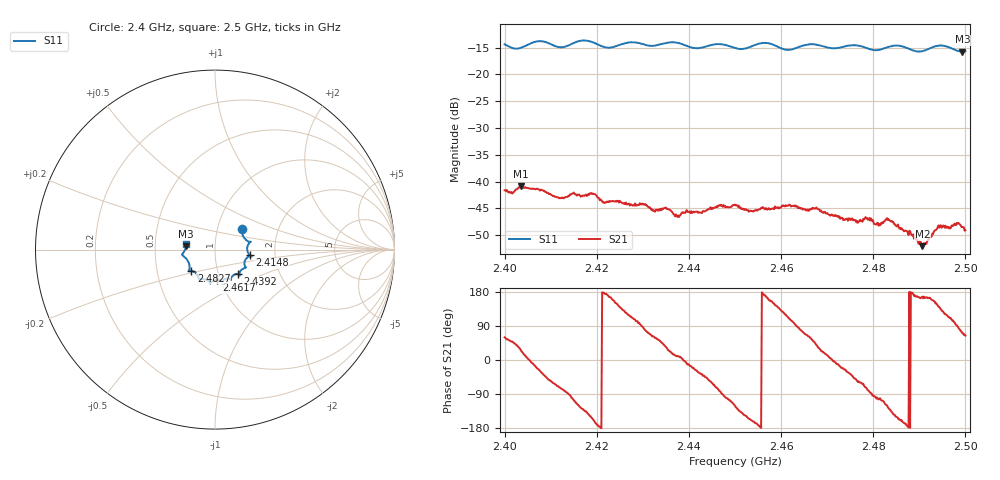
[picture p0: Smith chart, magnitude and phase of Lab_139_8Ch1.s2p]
# Hz S RI R 50
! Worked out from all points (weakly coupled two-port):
!   601 points, 2.4 GHz to 2.5 GHz, reference 50 ohm
!   highest |S21| = -40.87 dB at 2.4035 GHz (marker M1); lowest = -52.1 dB at 2.4907 GHz (marker M2)
!   lowest |S11| = -15.8 dB at 2.4993 GHz (marker M3), VSWR 1.39, Z = 36 + j1.4 ohm
!   |S11| at or under -10 dB: start of sweep to end of sweep
!   S12 and S22 are empty: the file has one direction only
!   S11 on the Smith chart (normalised r, x): 2.4 GHz: 1.31, +0.32; 2.4148 GHz: 1.47, -0.10; 2.4392 GHz: 1.24, -0.35; 2.4617 GHz: 0.96, -0.33; 2.4827 GHz: 0.75, -0.18; 2.5 GHz: 0.72, +0.05
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2.4e9  0.1513 0.1161  0.00418 0.00716  0 0  0 0
2.4035e9  0.166 0.0613  0.00812 0.00398  0 0  0 0
2.4075e9  0.1997 0.0435  0.0075 -0.0038  0 0  0 0
2.411833e9  0.1791 0.01  0.00217 -0.00662  0 0  0 0
2.414833e9  0.1924 -0.0313  -0.0018 -0.00751  0 0  0 0
2.416667e9  0.203 -0.0395  -0.00448 -0.00582  0 0  0 0
2.419167e9  0.1958 -0.0368  -0.00706 -0.00309  0 0  0 0
2.422333e9  0.1673 -0.0604  -0.00636 0.000956  0 0  0 0
2.433333e9  0.1366 -0.13  0.00317 0.0043  0 0  0 0
2.4375e9  0.137 -0.142  0.00459 0.00087  0 0  0 0
2.439167e9  0.1284 -0.1361  0.00508 -0.000335  0 0  0 0
2.45e9  0.0712 -0.1616  -0.0031 -0.00524  0 0  0 0
2.456667e9  0.0437 -0.1919  -0.00553 0.00115  0 0  0 0
2.461667e9  0.00849 -0.1692  -0.00204 0.00567  0 0  0 0
2.466667e9  -0.0262 -0.1897  0.0032 0.00448  0 0  0 0
2.474e9  -0.0795 -0.1653  0.004 -0.00194  0 0  0 0
2.482667e9  -0.1322 -0.1174  -0.00204 -0.0039  0 0  0 0
2.483333e9  -0.1379 -0.1169  -0.0027 -0.00353  0 0  0 0
2.490667e9  -0.1537 -0.0589  -0.00243 0.000547  0 0  0 0
2.494167e9  -0.1833 -0.0293  -0.00301 0.00247  0 0  0 0
2.499333e9  -0.1619 0.0189  0.00123 0.00356  0 0  0 0
2.5e9  -0.1616 0.0309  0.00152 0.00316  0 0  0 0
